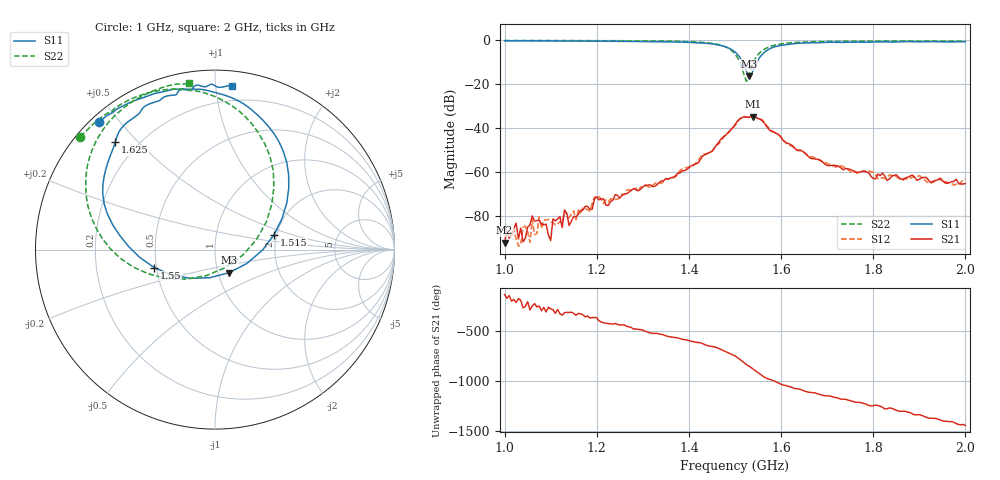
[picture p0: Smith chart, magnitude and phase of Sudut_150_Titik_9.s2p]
# Hz S RI R 50
! CMT, C1220, 16058040, 17.2.0/1
! Date: 14/08/2018 11:56:26
! Data: Format (Calibration Info)
! Freq  S11: Re/Im (F2)  S21: Re/Im (F2)  S12: Re/Im (F2)  S22: Re/Im (F2)
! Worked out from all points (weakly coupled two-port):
!   201 points, 1 GHz to 2 GHz, reference 50 ohm
!   highest |S21| = -34.75 dB at 1.54 GHz (marker M1); lowest = -92.0 dB at 1 GHz (marker M2)
!   lowest |S11| = -16.4 dB at 1.53 GHz (marker M3), VSWR 1.36, Z = 56.5 - j14.9 ohm
!   |S11| at or under -10 dB: 1.516 GHz to 1.548 GHz (31.22 MHz wide, 2.04 % of centre)
!   |S22| runs from -18.7 to -0.2 dB; largest |S21 - S12| = 0.0008
!   S11 on the Smith chart (normalised r, x): 1 GHz: 0.02, +0.44; 1.515 GHz: 1.93, +0.36; 1.55 GHz: 0.48, -0.11; 1.625 GHz: 0.12, +0.43; 2 GHz: 0.10, +1.10
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1e9  -0.6442 0.7115  -1.85e-05 -1.71e-05  -1.26e-05 -3.13e-05  -0.75 0.627
1.155e9  -0.4898 0.8126  9.46e-05 2.58e-05  7.33e-05 4.02e-05  -0.6276 0.7415
1.17e9  -0.472 0.8206  0.000131 4.87e-05  0.000155 -1.81e-06  -0.6122 0.7523
1.19e9  -0.4397 0.8333  0.000145 -1.81e-05  0.000191 2.27e-05  -0.5887 0.7642
1.2e9  -0.4291 0.8366  0.000275 -4.01e-05  0.000227 -0.000125  -0.5782 0.7655
1.225e9  -0.4014 0.8461  6.55e-05 -0.000166  0.000117 -0.000178  -0.562 0.7843
1.24e9  -0.3715 0.8564  0.000124 -0.000286  7.06e-05 -0.000233  -0.5443 0.7971
1.335e9  -0.2145 0.8935  -0.000575 -9.43e-05  -0.000563 -3.48e-05  -0.3956 0.8659
1.45e9  0.1804 0.7973  0.0013 0.00266  0.0015 0.00264  0.0271 0.8398
1.5e9  0.4112 0.3443  0.0105 -0.00596  0.00989 -0.00565  0.3285 0.3504
1.515e9  0.3284 0.0821  0.0024 -0.0172  0.0029 -0.0172  0.2306 0.0553
1.525e9  0.1784 -0.0769  -0.00834 -0.0157  -0.0083 -0.0159  0.0579 -0.1002
1.53e9  0.0789 -0.1286  -0.0117 -0.0132  -0.0119 -0.0134  -0.0506 -0.1458
1.54e9  -0.137 -0.1603  -0.0176 -0.00504  -0.0175 -0.00508  -0.2737 -0.1604
1.55e9  -0.3394 -0.0999  -0.0158 0.00508  -0.0159 0.00445  -0.4571 -0.0964
1.58e9  -0.6171 0.2536  0.000178 0.00839  0.000597 0.00865  -0.7019 0.2186
1.625e9  -0.5553 0.5994  0.00394 0.000879  0.00369 0.000947  -0.696 0.5226
1.67e9  -0.4411 0.7429  0.0016 -0.00124  0.00176 -0.00132  -0.62 0.6737
1.755e9  -0.2803 0.8516  -0.000607 -0.000918  -0.000543 -0.000793  -0.4835 0.8084
1.835e9  -0.1443 0.8866  -0.000696 0.000115  -0.000806 0.000319  -0.3701 0.8736
1.975e9  0.0575 0.909  0.000557 0.000273  0.000479 0.000178  -0.1738 0.9219
2e9  0.094 0.9114  0.000554 -5.16e-05  0.000699 -3.07e-05  -0.1465 0.9309
